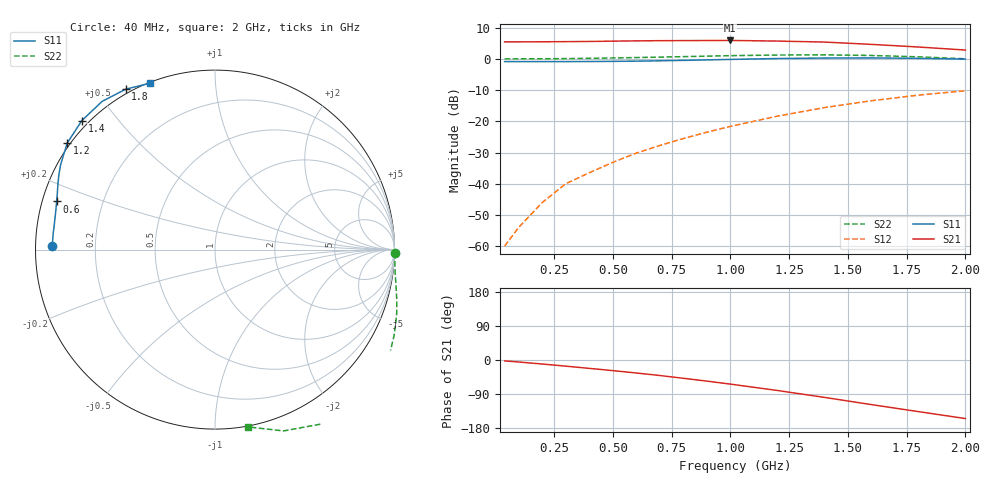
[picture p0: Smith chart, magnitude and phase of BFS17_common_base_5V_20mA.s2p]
! Filename:  BFS17CBE.S2P  Version:  2.0
! Philips part #: BFS17  Date: Jul 1990
! Bias condition: Vce=5V, Ic=20mA
! COMMON BASE
#  MHz  S  MA  R  50
! Freq  S11  S21  S12  S22
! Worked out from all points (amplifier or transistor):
!   16 points, 40 MHz to 2 GHz, reference 50 ohm
!   highest |S21| = 5.9 dB at 1 GHz (marker M1)
!   |S21| within 3 dB of that: start of sweep to 1.985 GHz
!   unconditionally stable (mu >= 1): nowhere
!   at 200 MHz: K = -0.50, MSG = 25.8 dB, |S12| = -46.0 dB
!   at 800 MHz: K = -0.77, MSG = 15.7 dB, |S12| = -25.5 dB
!   at 2 GHz: K = 0.03, MSG = 6.5 dB, |S12| = -10.2 dB
!   S11 on the Smith chart (normalised r, x): 40 MHz: 0.05, +0.01; 600 MHz: 0.04, +0.15; 1.2 GHz: -0.01, +0.32; 1.4 GHz: -0.02, +0.40; 1.8 GHz: -0.02, +0.59; 2 GHz: 0.00, +0.68
40  0.907 178.6  1.878 -2.4  0.001 81.1  1.001 -1.1
100  0.906 177.0  1.878 -5.3  0.002 93.6  1.005 -2.3
200  0.906 174.2  1.882 -10.6  0.005 115.4  1.006 -4.9
300  0.906 171.3  1.891 -16.2  0.01 125.1  1.012 -7.4
400  0.909 168.6  1.906 -22.1  0.015 130.3  1.023 -10.1
500  0.914 165.8  1.927 -28.0  0.022 134.3  1.036 -12.8
600  0.922 163.1  1.947 -34.3  0.031 136.6  1.052 -15.7
700  0.933 160.3  1.96 -40.9  0.041 138.2  1.07 -18.8
800  0.948 157.4  1.966 -48.2  0.053 138.3  1.088 -22.2
900  0.965 154.3  1.972 -55.7  0.067 137.9  1.108 -25.9
1000  0.982 151.1  1.977 -63.6  0.083 137.2  1.128 -29.9
1200  1.015 144.2  1.933 -80.4  0.121 133.7  1.155 -38.8
1400  1.033 135.9  1.863 -98.6  0.166 127.8  1.163 -48.7
1600  1.038 127.3  1.711 -117.7  0.214 121.6  1.136 -58.9
1800  1.023 119.1  1.552 -136.2  0.263 113.9  1.08 -69.3
2000  0.995 111.4  1.388 -154.5  0.309 106.7  1.004 -79.6
